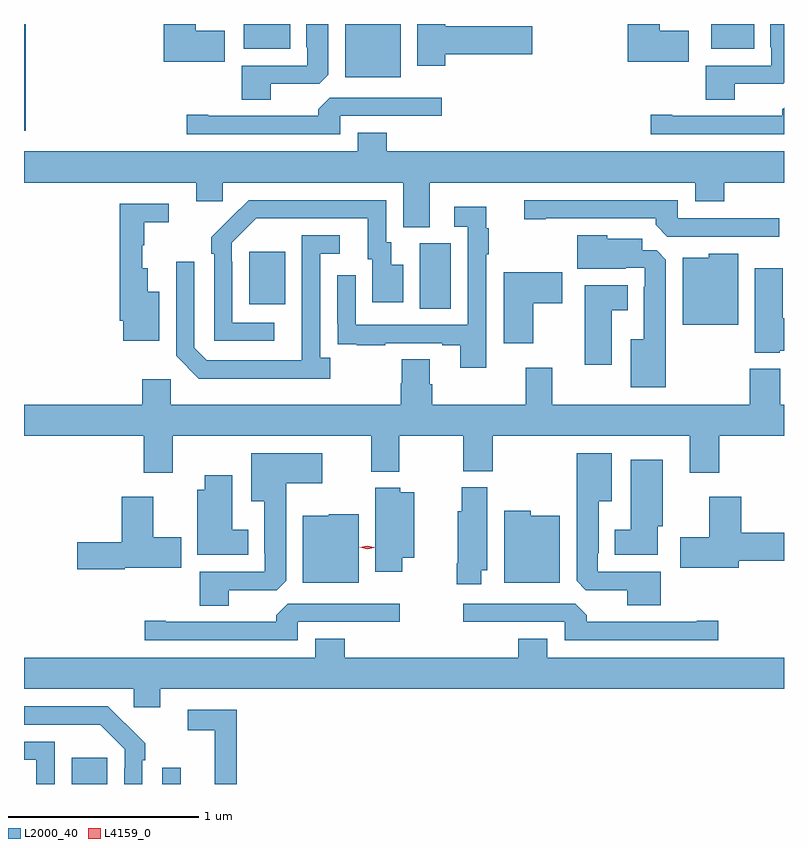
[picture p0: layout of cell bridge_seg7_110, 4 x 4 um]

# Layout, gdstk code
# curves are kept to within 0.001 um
import gdstk
lib = gdstk.Library(unit=1e-6, precision=1e-09)
def R(c, l, rs):  # rectangles x0, y0, x1, y1
    for r in rs: c.add(gdstk.rectangle(r[:2], r[2:], *l))
def P(c, l, *ps):  # polygons
    for p in ps: c.add(gdstk.Polygon(p, *l))
L2000_40 = (2000, 40)
L4159_0 = (4159, 0)

bridge_seg7_110 = lib.new_cell('bridge_seg7_110')
R(bridge_seg7_110, L2000_40, [(1080.167,1013.435,1080.355,1013.572), (1080.645,1013.435,1080.741,1013.521), (1082,1015.936,1082.164,1016.28), (1081.103,1015.961,1081.291,1016.236), (1079.917,1016.874,1079.927,1017.435), (1081.607,1017.155,1081.9,1017.435), (1081.073,1017.305,1081.318,1017.435), (1083.533,1017.305,1083.76,1017.435)])
P(bridge_seg7_110, L2000_40, [(1083.415,1017.399),(1083.262,1017.399),(1083.262,1017.435),(1083.095,1017.435),(1083.095,1017.236),(1083.415,1017.236)],
  [(1083.658,1017.12),(1083.912,1017.12),(1083.917,1017.125),(1083.917,1017.435),(1083.845,1017.435),(1083.845,1017.313),(1083.849,1017.313),(1083.849,1017.216),(1083.506,1017.216),(1083.506,1017.037),(1083.658,1017.037)],
  [(1081.216,1017.12),(1081.47,1017.12),(1081.519,1017.169),(1081.519,1017.435),(1081.403,1017.435),(1081.403,1017.313),(1081.407,1017.313),(1081.407,1017.216),(1081.064,1017.216),(1081.064,1017.037),(1081.216,1017.037)],
  [(1082.135,1017.275),(1082.593,1017.275),(1082.593,1017.422),(1082.135,1017.422),(1082.135,1017.435),(1081.988,1017.435),(1081.988,1017.216),(1082.135,1017.216)],
  [(1080.973,1017.399),(1080.82,1017.399),(1080.82,1017.435),(1080.653,1017.435),(1080.653,1017.236),(1080.973,1017.236)],
  [(1081.581,1016.952),(1082.116,1016.952),(1082.116,1017.048),(1081.527,1017.048),(1081.466,1016.986),(1081.466,1016.952),(1080.886,1016.952),(1080.886,1016.957),(1080.774,1016.957),(1080.774,1016.856),(1081.581,1016.856)],
  [(1083.917,1016.995),(1083.908,1016.986),(1083.908,1016.952),(1083.328,1016.952),(1083.328,1016.957),(1083.216,1016.957),(1083.216,1016.856),(1083.917,1016.856)],
  [(1082.053,1016.6),(1083.449,1016.6),(1083.449,1016.501),(1083.602,1016.501),(1083.602,1016.6),(1083.917,1016.6),(1083.917,1016.764),(1081.826,1016.764),(1081.826,1016.863),(1081.673,1016.863),(1081.673,1016.764),(1079.917,1016.764),(1079.917,1016.6),(1080.824,1016.6),(1080.824,1016.502),(1080.963,1016.502),(1080.963,1016.6),(1081.913,1016.6),(1081.913,1016.365),(1082.053,1016.365)],
  [(1081.234,1015.863),(1081.014,1015.863),(1081.014,1016.183),(1081.011,1016.183),(1081.011,1016.283),(1081.14,1016.412),(1081.727,1016.412),(1081.727,1016.196),(1081.751,1016.196),(1081.751,1015.971),(1081.912,1015.971),(1081.912,1016.167),(1081.849,1016.167),(1081.849,1016.286),(1081.824,1016.286),(1081.824,1016.508),(1081.1,1016.508),(1080.903,1016.313),(1080.903,1016.225),(1080.918,1016.225),(1080.918,1015.767),(1081.234,1015.767)],
  [(1083.892,1016.412),(1083.357,1016.412),(1083.357,1016.508),(1082.55,1016.508),(1082.55,1016.407),(1082.662,1016.407),(1082.662,1016.412),(1083.242,1016.412),(1083.242,1016.378),(1083.303,1016.316),(1083.892,1016.316)],
  [(1080.628,1016.026),(1080.568,1016.026),(1080.568,1016.149),(1080.539,1016.149),(1080.539,1016.271),(1080.55,1016.271),(1080.55,1016.392),(1080.679,1016.392),(1080.679,1016.49),(1080.421,1016.49),(1080.421,1015.873),(1080.44,1015.873),(1080.44,1015.769),(1080.628,1015.769)],
  [(1082.349,1016.224),(1082.362,1016.224),(1082.362,1016.36),(1082.351,1016.36),(1082.351,1016.473),(1082.181,1016.473),(1082.181,1016.367),(1082.253,1016.367),(1082.253,1015.851),(1081.662,1015.851),(1081.662,1016.113),(1081.566,1016.113),(1081.566,1015.858),(1081.567,1015.858),(1081.567,1015.749),(1081.669,1015.749),(1081.669,1015.743),(1081.817,1015.743),(1081.817,1015.755),(1082.117,1015.755),(1082.117,1015.743),(1082.213,1015.743),(1082.213,1015.626),(1082.349,1015.626)],
  [(1083.295,1016.195),(1083.246,1016.244),(1083.172,1016.244),(1083.172,1016.305),(1082.988,1016.305),(1082.988,1016.323),(1082.828,1016.323),(1082.828,1016.147),(1083.083,1016.147),(1083.083,1016.151),(1083.183,1016.151),(1083.183,1016.051),(1083.179,1016.051),(1083.179,1015.777),(1083.11,1015.777),(1083.11,1015.523),(1083.295,1015.523)],
  [(1081.528,1015.678),(1081.476,1015.678),(1081.476,1016.226),(1081.579,1016.226),(1081.579,1016.322),(1081.38,1016.322),(1081.379,1015.665),(1080.879,1015.665),(1080.813,1015.731),(1080.813,1016.185),(1080.717,1016.185),(1080.717,1015.689),(1080.838,1015.568),(1081.528,1015.568)],
  [(1083.676,1016.227),(1083.522,1016.227),(1083.522,1016.206),(1083.383,1016.206),(1083.383,1015.853),(1083.676,1015.853)],
  [(1083.894,1015.715),(1083.917,1015.715),(1083.917,1015.886),(1083.911,1015.886),(1083.911,1016.149),(1083.764,1016.149),(1083.764,1015.706),(1083.894,1015.706)],
  [(1082.596,1015.966),(1082.749,1015.966),(1082.749,1016.128),(1082.441,1016.128),(1082.441,1015.755),(1082.596,1015.755)],
  [(1083.01,1015.928),(1083.094,1015.928),(1083.094,1016.059),(1082.867,1016.059),(1082.867,1015.641),(1083.01,1015.641)],
  [(1082.23,1015.081),(1082.385,1015.081),(1082.385,1015.268),(1083.422,1015.268),(1083.422,1015.074),(1083.575,1015.074),(1083.575,1015.268),(1083.917,1015.268),(1083.917,1015.432),(1083.896,1015.432),(1083.896,1015.621),(1083.736,1015.621),(1083.736,1015.432),(1082.698,1015.432),(1082.698,1015.627),(1082.558,1015.627),(1082.558,1015.432),(1082.066,1015.432),(1082.066,1015.538),(1082.053,1015.538),(1082.053,1015.67),(1081.906,1015.67),(1081.906,1015.545),(1081.901,1015.545),(1081.901,1015.432),(1080.69,1015.432),(1080.69,1015.564),(1080.539,1015.564),(1080.539,1015.432),(1079.917,1015.432),(1079.917,1015.268),(1080.548,1015.268),(1080.548,1015.074),(1080.7,1015.074),(1080.7,1015.268),(1081.745,1015.268),(1081.745,1015.079),(1081.893,1015.079),(1081.893,1015.268),(1082.23,1015.268)],
  [(1080.994,1014.456),(1081.248,1014.456),(1081.297,1014.505),(1081.297,1015.019),(1081.486,1015.019),(1081.486,1015.177),(1081.112,1015.177),(1081.112,1014.923),(1081.181,1014.923),(1081.181,1014.649),(1081.185,1014.649),(1081.185,1014.552),(1080.842,1014.552),(1080.842,1014.373),(1080.994,1014.373)],
  [(1083.268,1014.552),(1082.937,1014.552),(1082.937,1014.649),(1082.941,1014.649),(1082.941,1014.923),(1083.01,1014.923),(1083.01,1015.177),(1082.825,1015.177),(1082.825,1014.505),(1082.874,1014.456),(1083.092,1014.456),(1083.092,1014.377),(1083.268,1014.377)],
  [(1083.253,1014.792),(1083.28,1014.792),(1083.28,1015.141),(1083.11,1015.141),(1083.11,1014.772),(1083.026,1014.772),(1083.026,1014.641),(1083.253,1014.641)],
  [(1081.096,1014.772),(1081.012,1014.772),(1081.012,1015.06),(1080.869,1015.06),(1080.869,1014.985),(1080.83,1014.985),(1080.83,1014.641),(1081.096,1014.641)],
  [(1082.323,1014.56),(1082.356,1014.56),(1082.356,1014.996),(1082.222,1014.996),(1082.222,1014.87),(1082.201,1014.87),(1082.201,1014.598),(1082.194,1014.598),(1082.194,1014.486),(1082.323,1014.486)],
  [(1081.908,1014.626),(1081.972,1014.626),(1081.972,1014.97),(1081.896,1014.97),(1081.896,1014.994),(1081.766,1014.994),(1081.766,1014.552),(1081.908,1014.552)],
  [(1080.447,1014.572),(1080.745,1014.572),(1080.745,1014.735),(1080.598,1014.735),(1080.598,1014.946),(1080.431,1014.946),(1080.431,1014.707),(1080.198,1014.707),(1080.198,1014.565),(1080.447,1014.565)],
  [(1083.679,1014.611),(1083.917,1014.611),(1083.917,1014.758),(1083.692,1014.758),(1083.692,1014.946),(1083.524,1014.946),(1083.524,1014.735),(1083.372,1014.735),(1083.372,1014.572),(1083.679,1014.572)],
  [(1082.737,1014.847),(1082.583,1014.847),(1082.583,1014.874),(1082.444,1014.874),(1082.444,1014.494),(1082.737,1014.494)],
  [(1081.678,1014.856),(1081.521,1014.856),(1081.521,1014.847),(1081.385,1014.847),(1081.385,1014.494),(1081.678,1014.494)],
  [(1081.359,1014.288),(1081.894,1014.288),(1081.894,1014.384),(1081.305,1014.384),(1081.244,1014.322),(1081.244,1014.288),(1080.664,1014.288),(1080.664,1014.293),(1080.552,1014.293),(1080.552,1014.192),(1081.359,1014.192)],
  [(1083.571,1014.293),(1083.458,1014.293),(1083.458,1014.288),(1082.879,1014.288),(1082.879,1014.322),(1082.817,1014.384),(1082.229,1014.384),(1082.229,1014.288),(1082.763,1014.288),(1082.763,1014.192),(1083.571,1014.192)],
  [(1080.634,1013.936),(1083.917,1013.936),(1083.917,1014.1),(1082.671,1014.1),(1082.671,1014.199),(1082.519,1014.199),(1082.519,1014.1),(1081.604,1014.1),(1081.604,1014.199),(1081.451,1014.199),(1081.451,1014.1),(1079.917,1014.1),(1079.917,1013.936),(1080.495,1013.936),(1080.495,1013.838),(1080.634,1013.838)],
  [(1080.54,1013.561),(1080.555,1013.561),(1080.555,1013.649),(1080.358,1013.844),(1079.917,1013.844),(1079.917,1013.748),(1080.319,1013.748),(1080.447,1013.619),(1080.447,1013.519),(1080.444,1013.519),(1080.444,1013.435),(1080.54,1013.435)],
  [(1081.037,1013.826),(1080.78,1013.826),(1080.78,1013.718),(1080.92,1013.718),(1080.92,1013.435),(1081.037,1013.435)],
  [(1080.078,1013.658),(1079.917,1013.658),(1079.917,1013.562),(1079.982,1013.562),(1079.982,1013.435),(1080.078,1013.435)])
P(bridge_seg7_110, L4159_0, [(1081.723,1014.67),(1081.685,1014.68),(1081.685,1014.68),(1081.685,1014.68),(1081.723,1014.69),(1081.761,1014.68),(1081.761,1014.68),(1081.761,1014.679)])

lib.write_gds('bridge_seg7_110.gds')
